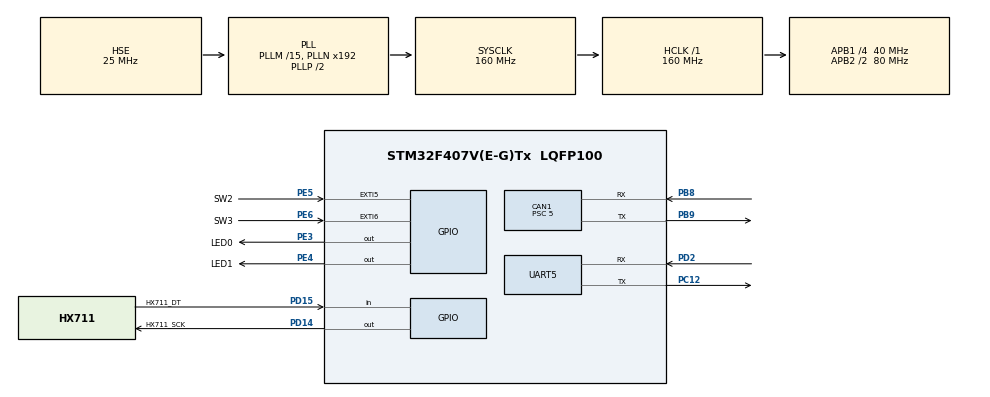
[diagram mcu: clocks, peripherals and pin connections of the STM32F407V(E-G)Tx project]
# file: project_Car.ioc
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CAN1.AWUM=ENABLE
CAN1.BS1=CAN_BS1_13TQ
CAN1.BS2=CAN_BS2_2TQ
CAN1.CalculateBaudRate=500000
CAN1.CalculateTimeBit=2000
CAN1.CalculateTimeQuantum=125.0
CAN1.Mode=CAN_MODE_NORMAL
CAN1.NART=ENABLE
CAN1.Prescaler=5
Dma.Request0=UART5_TX
Dma.Request1=UART5_RX
Dma.UART5_RX.1.Direction=DMA_PERIPH_TO_MEMORY
Dma.UART5_RX.1.FIFOMode=DMA_FIFOMODE_DISABLE
Dma.UART5_RX.1.Instance=DMA1_Stream0
Dma.UART5_RX.1.MemDataAlignment=DMA_MDATAALIGN_BYTE
Dma.UART5_RX.1.MemInc=DMA_MINC_ENABLE
Dma.UART5_RX.1.Mode=DMA_CIRCULAR
Dma.UART5_RX.1.PeriphDataAlignment=DMA_PDATAALIGN_BYTE
Dma.UART5_RX.1.PeriphInc=DMA_PINC_DISABLE
Dma.UART5_RX.1.Priority=DMA_PRIORITY_VERY_HIGH
Dma.UART5_TX.0.Direction=DMA_MEMORY_TO_PERIPH
Dma.UART5_TX.0.FIFOMode=DMA_FIFOMODE_DISABLE
Dma.UART5_TX.0.Instance=DMA1_Stream7
Dma.UART5_TX.0.MemDataAlignment=DMA_MDATAALIGN_BYTE
Dma.UART5_TX.0.MemInc=DMA_MINC_ENABLE
Dma.UART5_TX.0.Mode=DMA_NORMAL
Dma.UART5_TX.0.PeriphDataAlignment=DMA_PDATAALIGN_BYTE
Dma.UART5_TX.0.PeriphInc=DMA_PINC_DISABLE
Dma.UART5_TX.0.Priority=DMA_PRIORITY_VERY_HIGH
FREERTOS.INCLUDE_eTaskGetState=1
FREERTOS.INCLUDE_pcTaskGetTaskName=1
FREERTOS.INCLUDE_uxTaskGetStackHighWaterMark=1
FREERTOS.INCLUDE_vTaskCleanUpResources=1
FREERTOS.INCLUDE_vTaskDelayUntil=1
FREERTOS.INCLUDE_xEventGroupSetBitFromISR=1
FREERTOS.INCLUDE_xTaskGetCurrentTaskHandle=1
FREERTOS.INCLUDE_xTimerPendFunctionCall=1
FREERTOS.Tasks01=rosTask,2,2048,rosCallback,As weak,NULL,Dynamic,NULL,NULL;CanNormalTask,0,512,CanNormalTCallbk,As weak,NULL,Dynamic,NULL,NULL;CanUrgentTask,1,512,CanUrgentCallbk,As weak,NULL,Dynamic,NULL,NULL;feedDogTask,3,128,feedDogCallbk,As weak,NULL,Dynamic,NULL,NULL;keyTask,1,128,keyCheckCallbk,As weak,NULL,Dynamic,NULL,NULL;PressTask,-1,128,PressCallbk,As weak,NULL,Dynamic,NULL,NULL
FREERTOS.configENABLE_FPU=1
FREERTOS.configGENERATE_RUN_TIME_STATS=1
FREERTOS.configLIBRARY_MAX_SYSCALL_INTERRUPT_PRIORITY=6
FREERTOS.configMAX_PRIORITIES=7
FREERTOS.configRECORD_STACK_HIGH_ADDRESS=1
FREERTOS.configTIMER_QUEUE_LENGTH=20
FREERTOS.configTIMER_TASK_PRIORITY=4
FREERTOS.configTIMER_TASK_STACK_DEPTH=512
FREERTOS.configTOTAL_HEAP_SIZE=30720
FREERTOS.configUSE_APPLICATION_TASK_TAG=0
FREERTOS.configUSE_COUNTING_SEMAPHORES=1
FREERTOS.configUSE_MUTEXES=1
FREERTOS.configUSE_NEWLIB_REENTRANT=1
FREERTOS.configUSE_RECURSIVE_MUTEXES=0
FREERTOS.configUSE_STATS_FORMATTING_FUNCTIONS=1
FREERTOS.configUSE_TIMERS=1
FREERTOS.configUSE_TRACE_FACILITY=1
IWDG.Prescaler=IWDG_PRESCALER_64
Mcu.Family=STM32F4
Mcu.Name=STM32F407V(E-G)Tx
Mcu.Package=LQFP100
NVIC.DMA1_Stream0_IRQn=true\:6\:0\:false\:false\:true\:true\:false\:true
NVIC.DMA1_Stream7_IRQn=true\:6\:0\:false\:false\:true\:true\:false\:true
NVIC.EXTI9_5_IRQn=true\:6\:0\:false\:false\:true\:true\:true\:true
NVIC.PriorityGroup=NVIC_PRIORITYGROUP_4
NVIC.TIM6_DAC_IRQn=true\:7\:0\:true\:false\:true\:true\:true\:true
NVIC.TIM7_IRQn=true\:0\:0\:true\:false\:true\:false\:false\:true
NVIC.TimeBase=TIM7_IRQn
NVIC.TimeBaseIP=TIM7
NVIC.UART5_IRQn=true\:6\:0\:false\:false\:true\:true\:true\:true
PA13.Mode=Serial_Wire
PA13.Signal=SYS_JTMS-SWDIO
PA14.Mode=Serial_Wire
PA14.Signal=SYS_JTCK-SWCLK
PB8.GPIO_PuPd=GPIO_PULLUP
PB8.Mode=CAN_Activate
PB8.Signal=CAN1_RX
PB9.GPIO_PuPd=GPIO_PULLUP
PB9.Mode=CAN_Activate
PB9.Signal=CAN1_TX
PC12.Mode=Asynchronous
PC12.Signal=UART5_TX
PC14-OSC32_IN.Mode=LSE-External-Oscillator
PC14-OSC32_IN.Signal=RCC_OSC32_IN
PC15-OSC32_OUT.Mode=LSE-External-Oscillator
PC15-OSC32_OUT.Signal=RCC_OSC32_OUT
PD14.GPIO_Label=HX711_SCK
PD14.GPIO_Speed=GPIO_SPEED_FREQ_HIGH
PD14.PinState=GPIO_PIN_SET
PD14.Signal=GPIO_Output
PD15.GPIO_Label=HX711_DT
PD15.GPIO_PuPd=GPIO_PULLUP
PD15.Signal=GPIO_Input
PD2.Mode=Asynchronous
PD2.Signal=UART5_RX
PE3.GPIO_Label=LED0
PE3.PinState=GPIO_PIN_SET
PE3.Signal=GPIO_Output
PE4.GPIO_Label=LED1
PE4.PinState=GPIO_PIN_SET
PE4.Signal=GPIO_Output
PE5.GPIO_Label=SW2
PE5.Signal=GPXTI5
PE6.GPIO_Label=SW3
PE6.Signal=GPXTI6
PH0-OSC_IN.Mode=HSE-External-Oscillator
PH0-OSC_IN.Signal=RCC_OSC_IN
PH1-OSC_OUT.Mode=HSE-External-Oscillator
PH1-OSC_OUT.Signal=RCC_OSC_OUT
ProjectManager.HeapSize=0x1000
ProjectManager.StackSize=0x400
ProjectManager.TargetToolchain=STM32CubeIDE
RCC.48MHZClocksFreq_Value=40000000
RCC.AHBFreq_Value=160000000
RCC.APB1CLKDivider=RCC_HCLK_DIV4
RCC.APB1Freq_Value=40000000
RCC.APB1TimFreq_Value=80000000
RCC.APB2CLKDivider=RCC_HCLK_DIV2
RCC.APB2Freq_Value=80000000
RCC.APB2TimFreq_Value=160000000
RCC.CortexFreq_Value=20000000
RCC.Cortex_Div=SYSTICK_CLKSOURCE_HCLK_DIV8
RCC.FLatency=FLASH_LATENCY_5
RCC.HCLKFreq_Value=160000000
RCC.HSE_VALUE=25000000
RCC.HSI_VALUE=16000000
RCC.PLLM=15
RCC.PLLQ=8
RCC.PLLSourceVirtual=RCC_PLLSOURCE_HSE
RCC.SYSCLKFreq_VALUE=160000000
RCC.SYSCLKSource=RCC_SYSCLKSOURCE_PLLCLK
RCC.VCOOutputFreq_Value=320000000
TIM6.Period=100 - 1
TIM6.Prescaler=80 - 1
UART5.VirtualMode=Asynchronous
VP_FREERTOS_VS_CMSIS_V1.Mode=CMSIS_V1
VP_IWDG_VS_IWDG.Mode=IWDG_Activate
VP_SYS_VS_tim7.Mode=TIM7
VP_TIM6_VS_ClockSourceINT.Mode=Enable_Timer
board=custom

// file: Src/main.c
/* USER CODE BEGIN Header */
/**
  ******************************************************************************
  * @file           : main.c
  * @brief          : Main program body
  ******************************************************************************
  * @attention
  *
  * Copyright (c) 2022 STMicroelectronics.
  * All rights reserved.
  *
  * This software is licensed under terms that can be found in the LICENSE file
  * in the root directory of this software component.
  * If no LICENSE file comes with this software, it is provided AS-IS.
  *
  ******************************************************************************
  */
/* USER CODE END Header */
#include "main.h"
#include "cmsis_os.h"
#include "can.h"
#include "dma.h"
#include "iwdg.h"
#include "tim.h"
#include "usart.h"
#include "gpio.h"

/* USER CODE BEGIN Includes */
#include "startup.h"
#include "dwt_stm32_delay.h"
#include "freertos_setup.h"
/* USER CODE END Includes */

void SystemClock_Config(void);

void MX_FREERTOS_Init(void);

int main(void) {

    /* MCU Configuration--------------------------------------------------------*/

    /* Reset of all peripherals, Initializes the Flash interface and the Systick. */
    HAL_Init();

    /* Configure the system clock */
    SystemClock_Config();

    /* Initialize all configured peripherals */
    MX_GPIO_Init();
    MX_TIM6_Init();
    MX_CAN1_Init();
    MX_DMA_Init();
    MX_IWDG_Init();
    MX_UART5_Init();
    /* USER CODE BEGIN 2 */
#if (JLINK_DEBUG == 1) && (configGENERATE_RUN_TIME_STATS == 1)
    HAL_TIM_Base_Start_IT(&htim6);
#endif
    if (DWT_Delay_Init()) {
        Error_Handler(); /* Call Error Handler */
    }
    startup();
    HAL_IWDG_Refresh(&hiwdg);
    /* USER CODE END 2 */

    /* Call init function for freertos objects (in freertos.c) */
    MX_FREERTOS_Init();
    /* Start scheduler */
    osKernelStart();

    /* We should never get here as control is now taken by the scheduler */
    /* Infinite loop */
    while (1) {

    }
}

void SystemClock_Config(void) {
    RCC_OscInitTypeDef RCC_OscInitStruct = {0};
    RCC_ClkInitTypeDef RCC_ClkInitStruct = {0};

    /** Configure the main internal regulator output voltage
    */
    __HAL_RCC_PWR_CLK_ENABLE();
    __HAL_PWR_VOLTAGESCALING_CONFIG(PWR_REGULATOR_VOLTAGE_SCALE1);
    /** Initializes the RCC Oscillators according to the specified parameters
    * in the RCC_OscInitTypeDef structure.
    */
    RCC_OscInitStruct.OscillatorType = RCC_OSCILLATORTYPE_LSI | RCC_OSCILLATORTYPE_HSE;
    RCC_OscInitStruct.HSEState = RCC_HSE_ON;
    RCC_OscInitStruct.LSIState = RCC_LSI_ON;
    RCC_OscInitStruct.PLL.PLLState = RCC_PLL_ON;
    RCC_OscInitStruct.PLL.PLLSource = RCC_PLLSOURCE_HSE;
    RCC_OscInitStruct.PLL.PLLM = 15;
    RCC_OscInitStruct.PLL.PLLN = 192;
    RCC_OscInitStruct.PLL.PLLP = RCC_PLLP_DIV2;
    RCC_OscInitStruct.PLL.PLLQ = 8;
    if (HAL_RCC_OscConfig(&RCC_OscInitStruct) != HAL_OK) {
        Error_Handler();
    }
    /** Initializes the CPU, AHB and APB buses clocks
    */
    RCC_ClkInitStruct.ClockType = RCC_CLOCKTYPE_HCLK | RCC_CLOCKTYPE_SYSCLK
                                  | RCC_CLOCKTYPE_PCLK1 | RCC_CLOCKTYPE_PCLK2;
    RCC_ClkInitStruct.SYSCLKSource = RCC_SYSCLKSOURCE_PLLCLK;
    RCC_ClkInitStruct.AHBCLKDivider = RCC_SYSCLK_DIV1;
    RCC_ClkInitStruct.APB1CLKDivider = RCC_HCLK_DIV4;
    RCC_ClkInitStruct.APB2CLKDivider = RCC_HCLK_DIV2;

    if (HAL_RCC_ClockConfig(&RCC_ClkInitStruct, FLASH_LATENCY_5) != HAL_OK) {
        Error_Handler();
    }
}

void HAL_TIM_PeriodElapsedCallback(TIM_HandleTypeDef *htim) {
    if (htim->Instance == TIM7) {
        HAL_IncTick();
    }
    /* USER CODE BEGIN Callback 1 */
    timely_detect(htim);
    /* USER CODE END Callback 1 */
}

void Error_Handler(void) {
    __disable_irq();
    while (1) {
    }
}

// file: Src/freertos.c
/* USER CODE BEGIN Header */
/**
  ******************************************************************************
  * File Name          : freertos.c
  * Description        : Code for freertos applications
  ******************************************************************************
  * @attention
  *
  * Copyright (c) 2022 STMicroelectronics.
  * All rights reserved.
  *
  * This software is licensed under terms that can be found in the LICENSE file
  * in the root directory of this software component.
  * If no LICENSE file comes with this software, it is provided AS-IS.
  *
  ******************************************************************************
  */
/* USER CODE END Header */

#include "FreeRTOS.h"
#include "task.h"
#include "main.h"
#include "cmsis_os.h"

/* USER CODE BEGIN Includes */
#include "freertos_setup.h"
#include "SEGGER_RTT.h"
#include "event_groups.h"
#include "timers.h"
#include "UserConfig.h"
/* USER CODE END Includes */

/* USER CODE BEGIN Variables */
xQueueHandle canSendQueue = NULL;
xQueueHandle canUrgentQueue = NULL;
SemaphoreHandle_t canMutex = NULL;
EventGroupHandle_t feedDogEvent = NULL;
/* USER CODE END Variables */
osThreadId rosTaskHandle;
osThreadId CanNormalTaskHandle;
osThreadId CanUrgentTaskHandle;
osThreadId feedDogTaskHandle;
osThreadId keyTaskHandle;
osThreadId PressTaskHandle;

void rosCallback(void const * argument);
void CanNormalTCallbk(void const * argument);
void CanUrgentCallbk(void const * argument);
void feedDogCallbk(void const * argument);
void keyCheckCallbk(void const * argument);
void PressCallbk(void const * argument);

void MX_FREERTOS_Init(void); /* (MISRA C 2004 rule 8.1) */

/* GetIdleTaskMemory prototype (linked to static allocation support) */
void vApplicationGetIdleTaskMemory( StaticTask_t **ppxIdleTaskTCBBuffer, StackType_t **ppxIdleTaskStackBuffer, uint32_t *pulIdleTaskStackSize );

/* GetTimerTaskMemory prototype (linked to static allocation support) */
void vApplicationGetTimerTaskMemory( StaticTask_t **ppxTimerTaskTCBBuffer, StackType_t **ppxTimerTaskStackBuffer, uint32_t *pulTimerTaskStackSize );

/* Hook prototypes */
void configureTimerForRunTimeStats(void);
unsigned long getRunTimeCounterValue(void);

/* USER CODE BEGIN 1 */
/* Functions needed when configGENERATE_RUN_TIME_STATS is on */
__weak void configureTimerForRunTimeStats(void) {

}

__weak unsigned long getRunTimeCounterValue(void) {
    return 0;
}
/* USER CODE END 1 */

/* USER CODE BEGIN GET_IDLE_TASK_MEMORY */
static StaticTask_t xIdleTaskTCBBuffer;
static StackType_t xIdleStack[configMINIMAL_STACK_SIZE];

void vApplicationGetIdleTaskMemory(StaticTask_t **ppxIdleTaskTCBBuffer, StackType_t **ppxIdleTaskStackBuffer,
                                   uint32_t *pulIdleTaskStackSize) {
    *ppxIdleTaskTCBBuffer = &xIdleTaskTCBBuffer;
    *ppxIdleTaskStackBuffer = &xIdleStack[0];
    *pulIdleTaskStackSize = configMINIMAL_STACK_SIZE;
    /* place for user code */
}
/* USER CODE END GET_IDLE_TASK_MEMORY */

/* USER CODE BEGIN GET_TIMER_TASK_MEMORY */
static StaticTask_t xTimerTaskTCBBuffer;
static StackType_t xTimerStack[configTIMER_TASK_STACK_DEPTH];

void vApplicationGetTimerTaskMemory(StaticTask_t **ppxTimerTaskTCBBuffer, StackType_t **ppxTimerTaskStackBuffer,
                                    uint32_t *pulTimerTaskStackSize) {
    *ppxTimerTaskTCBBuffer = &xTimerTaskTCBBuffer;
    *ppxTimerTaskStackBuffer = &xTimerStack[0];
    *pulTimerTaskStackSize = configTIMER_TASK_STACK_DEPTH;
    /* place for user code */
}
/* USER CODE END GET_TIMER_TASK_MEMORY */

void MX_FREERTOS_Init(void) {
  /* USER CODE BEGIN Init */
    feedDogEvent = xEventGroupCreate();
    if (feedDogEvent == NULL) {
#if JLINK_DEBUG == 1
        SEGGER_RTT_printf(0, "eventgroup create error!\n");
#endif
        while (1);
    }
  /* USER CODE END Init */

  /* USER CODE BEGIN RTOS_MUTEX */
    /* add mutexes, ... */
    canMutex = xSemaphoreCreateMutex();
    if (canMutex == NULL) {
#if JLINK_DEBUG == 1
        SEGGER_RTT_printf(0, "canMutex create error!\n");
#endif
        while (1);
    }
  /* USER CODE END RTOS_MUTEX */

  /* USER CODE BEGIN RTOS_TIMERS */
    if(start_timer() != HAL_OK){
#if JLINK_DEBUG == 1
        SEGGER_RTT_printf(0, "time create error!\n");
#endif
        while (1);
    }
    /* start timers, add new ones, ... */
  /* USER CODE END RTOS_TIMERS */

  /* USER CODE BEGIN RTOS_QUEUES */
    /* add queues, ... */
    if (create_Queue() != HAL_OK) {
#if JLINK_DEBUG == 1
        SEGGER_RTT_printf(0, "queue create error!\n");
#endif
        while (1);
    }
  /* USER CODE END RTOS_QUEUES */

  /* Create the thread(s) */
  /* definition and creation of rosTask */
  osThreadDef(rosTask, rosCallback, osPriorityHigh, 0, 2048);
  rosTaskHandle = osThreadCreate(osThread(rosTask), NULL);

  /* definition and creation of CanNormalTask */
  osThreadDef(CanNormalTask, CanNormalTCallbk, osPriorityNormal, 0, 512);
  CanNormalTaskHandle = osThreadCreate(osThread(CanNormalTask), NULL);

  /* definition and creation of CanUrgentTask */
  osThreadDef(CanUrgentTask, CanUrgentCallbk, osPriorityAboveNormal, 0, 512);
  CanUrgentTaskHandle = osThreadCreate(osThread(CanUrgentTask), NULL);

  /* definition and creation of feedDogTask */
  osThreadDef(feedDogTask, feedDogCallbk, osPriorityRealtime, 0, 128);
  feedDogTaskHandle = osThreadCreate(osThread(feedDogTask), NULL);

  /* definition and creation of keyTask */
  osThreadDef(keyTask, keyCheckCallbk, osPriorityAboveNormal, 0, 128);
  keyTaskHandle = osThreadCreate(osThread(keyTask), NULL);

  /* definition and creation of PressTask */
  osThreadDef(PressTask, PressCallbk, osPriorityBelowNormal, 0, 128);
  PressTaskHandle = osThreadCreate(osThread(PressTask), NULL);

  /* USER CODE BEGIN RTOS_THREADS */
    /* add threads, ... */
#if JLINK_DEBUG == 1
    SEGGER_RTT_printf(0,"start!");
#endif
  /* USER CODE END RTOS_THREADS */

}

__weak void rosCallback(void const * argument)
{
    for (;;) {
        osDelay(1);
    }
}

__weak void CanNormalTCallbk(void const * argument)
{
    for (;;) {
        osDelay(1);
    }
}

__weak void CanUrgentCallbk(void const * argument)
{
    for (;;) {
        osDelay(1);
    }
}

__weak void feedDogCallbk(void const * argument)
{
    for (;;) {
        osDelay(1);
    }
}

__weak void keyCheckCallbk(void const * argument)
{
    for (;;) {
        osDelay(1);
    }
}

__weak void PressCallbk(void const * argument)
{
  for(;;)
  {
    osDelay(1);
  }
}
